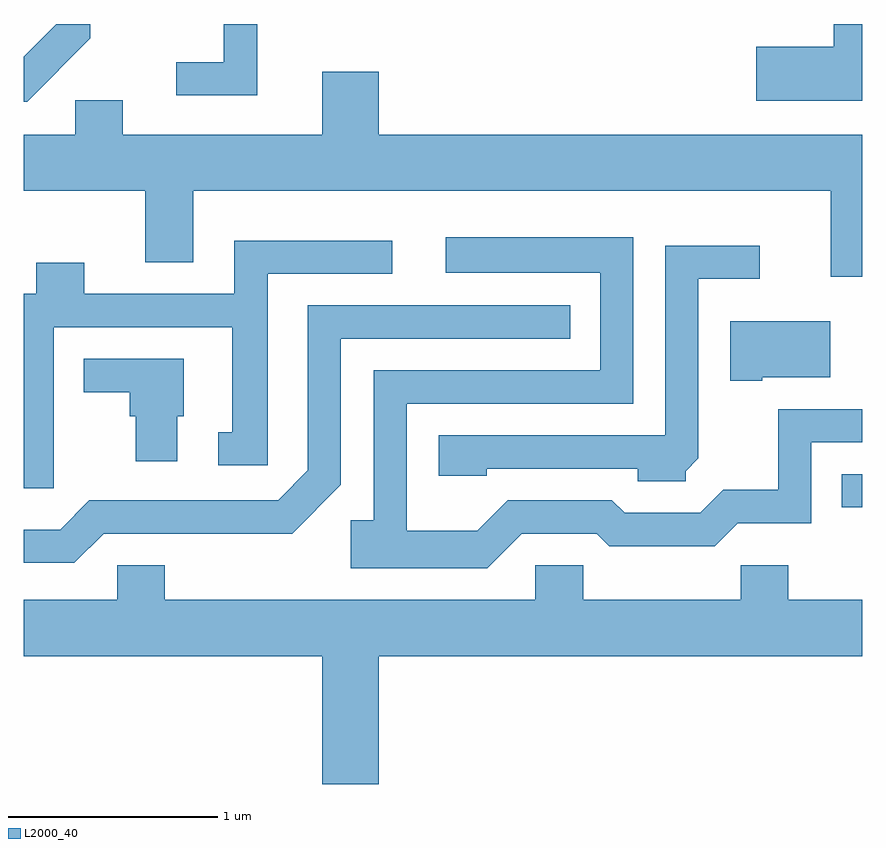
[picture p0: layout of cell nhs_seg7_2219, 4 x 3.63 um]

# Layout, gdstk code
import gdstk
lib = gdstk.Library(unit=1e-6, precision=1e-09)
def R(c, l, rs):  # rectangles x0, y0, x1, y1
    for r in rs: c.add(gdstk.rectangle(r[:2], r[2:], *l))
def P(c, l, *ps):  # polygons
    for p in ps: c.add(gdstk.Polygon(p, *l))
L2000_40 = (2000, 40)

nhs_seg7_2219 = lib.new_cell('nhs_seg7_2219')
R(nhs_seg7_2219, L2000_40, [(257.513,1683.946,257.611,1684.104)])
P(nhs_seg7_2219, L2000_40, [(254.724,1686.252),(254.566,1686.252),(254.566,1686.069),(254.338,1686.069),(254.338,1685.911),(254.724,1685.911)],
  [(257.611,1686.252),(257.476,1686.252),(257.476,1686.144),(257.106,1686.144),(257.106,1685.886),(257.611,1685.886)],
  [(253.929,1686.184),(253.929,1686.252),(253.766,1686.252),(253.611,1686.096),(253.611,1685.881),(253.627,1685.881)],
  [(257.611,1685.724),(255.304,1685.724),(255.304,1686.024),(255.036,1686.024),(255.036,1685.724),(254.084,1685.724),(254.084,1685.889),(253.856,1685.889),(253.856,1685.724),(253.611,1685.724),(253.611,1685.456),(254.191,1685.456),(254.191,1685.116),(254.419,1685.116),(254.419,1685.456),(257.461,1685.456),(257.461,1685.046),(257.611,1685.046)],
  [(255.987,1683.821),(256.344,1683.821),(256.404,1683.761),(256.907,1683.761),(257.017,1683.871),(257.369,1683.871),(257.369,1684.256),(257.611,1684.256),(257.611,1684.414),(257.211,1684.414),(257.211,1684.029),(256.949,1684.029),(256.839,1683.919),(256.477,1683.919),(256.416,1683.979),(255.919,1683.979),(255.774,1683.834),(255.439,1683.834),(255.439,1684.441),(256.519,1684.441),(256.519,1685.234),(255.623,1685.234),(255.623,1685.066),(256.361,1685.066),(256.361,1684.599),(255.281,1684.599),(255.281,1683.884),(255.171,1683.884),(255.171,1683.656),(255.822,1683.656)],
  [(253.754,1684.806),(254.606,1684.806),(254.606,1684.304),(254.538,1684.304),(254.538,1684.146),(254.774,1684.146),(254.774,1685.061),(255.368,1685.061),(255.368,1685.219),(254.616,1685.219),(254.616,1684.964),(253.899,1684.964),(253.899,1685.114),(253.671,1685.114),(253.671,1684.964),(253.611,1684.964),(253.611,1684.038),(253.754,1684.038)],
  [(256.769,1684.119),(256.829,1684.179),(256.829,1685.036),(257.123,1685.036),(257.123,1685.194),(256.671,1685.194),(256.671,1684.289),(255.591,1684.289),(255.591,1684.096),(255.819,1684.096),(255.819,1684.131),(256.541,1684.131),(256.541,1684.071),(256.769,1684.071)],
  [(253.992,1683.821),(254.892,1683.821),(255.124,1684.054),(255.124,1684.751),(256.218,1684.751),(256.218,1684.909),(254.966,1684.909),(254.966,1684.122),(254.824,1683.979),(253.924,1683.979),(253.784,1683.839),(253.611,1683.839),(253.611,1683.681),(253.852,1683.681)],
  [(257.135,1684.566),(257.459,1684.566),(257.459,1684.834),(256.981,1684.834),(256.981,1684.551),(257.135,1684.551)],
  [(254.344,1684.381),(254.374,1684.381),(254.374,1684.654),(253.898,1684.654),(253.898,1684.496),(254.116,1684.496),(254.116,1684.381),(254.146,1684.381),(254.146,1684.166),(254.344,1684.166)],
  [(255.304,1683.236),(257.611,1683.236),(257.611,1683.504),(257.259,1683.504),(257.259,1683.669),(257.031,1683.669),(257.031,1683.504),(256.279,1683.504),(256.279,1683.669),(256.051,1683.669),(256.051,1683.504),(254.284,1683.504),(254.284,1683.669),(254.056,1683.669),(254.056,1683.504),(253.611,1683.504),(253.611,1683.236),(255.036,1683.236),(255.036,1682.626),(255.304,1682.626)])

lib.write_gds('nhs_seg7_2219.gds')
